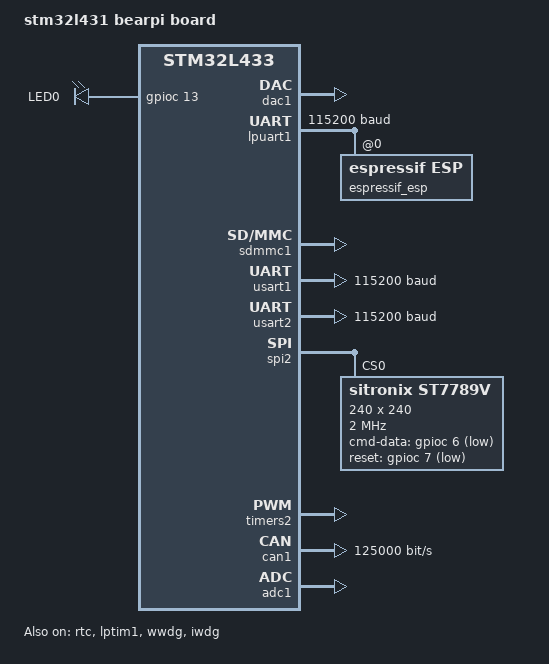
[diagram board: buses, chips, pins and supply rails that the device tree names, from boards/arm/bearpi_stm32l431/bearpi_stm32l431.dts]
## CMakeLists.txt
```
cmake_minimum_required(VERSION 3.13.1)

# set board name
set(BOARD bearpi_stm32l431)

# board, dts, soc
set(BOARD_ROOT ${CMAKE_CURRENT_LIST_DIR})
set(DTS_ROOT ${CMAKE_CURRENT_LIST_DIR}/dts)
set(SOC_ROOT ${CMAKE_CURRENT_LIST_DIR})

# evm path
set(EVM_BASE ${ZEPHYR_BASE}/../../../)

include_directories(app PRIVATE src)

# heatshrink module
list(APPEND ZEPHYR_EXTRA_MODULES
    ${EVM_BASE}/modules/heatshrink
)

# evm module
list(APPEND ZEPHYR_EXTRA_MODULES
    ${EVM_BASE}/modules/evm
)

# ecma
list(APPEND ZEPHYR_EXTRA_MODULES
    ${EVM_BASE}/modules/ecma
)

# driver
list(APPEND ZEPHYR_EXTRA_MODULES
    ${EVM_BASE}/drivers
)

find_package(Zephyr HINTS $ENV{ZEPHYR_BASE})
project(evm)

if(CONFIG_EVM_LANG_JAVASCRIPT)
    set(LIBEVM ${EVM_BASE}/lib/arm-none-eabi-gcc/cortex-m3/libejs.a)
elseif(CONFIG_EVM_LANG_PYTHON)
    set(LIBEVM ${EVM_BASE}/lib/arm-none-eabi-gcc/cortex-m3/libepy.a)
elseif(CONFIG_EVM_LANG_QML)
    set(LIBEVM ${EVM_BASE}/lib/arm-none-eabi-gcc/cortex-m3/libeqml.a)   
else()
    set(LIBEVM ${EVM_BASE}/lib/arm-none-eabi-gcc/cortex-m3/libejs.a)
endif()

message(${LIBEVM})
target_link_libraries(app PRIVATE ${LIBEVM})

include_directories(app PRIVATE ${EVM_BASE}/include)
include_directories(app PRIVATE ${EVM_BASE}/bsp/common)

target_sources(app PRIVATE src/main.c)
target_sources(app PRIVATE ${EVM_BASE}/bsp/common/evm_main.c)
target_sources(app PRIVATE src/evm_board.c)
```

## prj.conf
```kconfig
# libc config
CONFIG_NEWLIB_LIBC=y

# console config
CONFIG_STDOUT_CONSOLE=y
CONFIG_CONSOLE_SUBSYS=y
CONFIG_CONSOLE_GETCHAR=y
CONFIG_PRINTK=y

# zephyr config
CONFIG_MAIN_STACK_SIZE=4096

# driver config
CONFIG_GPIO=y
CONFIG_FLASH=y
CONFIG_DISPLAY=y
CONFIG_SPI=y
CONFIG_ST7789V=y
CONFIG_ADC=y
CONFIG_ADC_STM32=y
CONFIG_DAC=y
CONFIG_DAC_STM32=y
CONFIG_WATCHDOG=y
CONFIG_WDT_DISABLE_AT_BOOT=y
CONFIG_ST7789V_RGB565=y
CONFIG_SPI_STM32_USE_HW_SS=n

# networking config
CONFIG_NETWORKING=y
CONFIG_NET_IPV4=y
CONFIG_NET_IPV6=n
CONFIG_TEST_RANDOM_GENERATOR=y
CONFIG_NET_L2_ETHERNET=y

# WIFI config
CONFIG_WIFI=y
CONFIG_WIFI_ESP=y 
CONFIG_WIFI_ESP_AT_VERSION_1_7=y

#evm config
CONFIG_EVM_MODULE_PIN=y
CONFIG_EVM_MODULE_SWITCH=y
CONFIG_EVM_MODULE_TIMER=y
CONFIG_EVM_MODULE_UART=y
CONFIG_EVM_MODULE_LCD=y

# EVM ecma config
CONFIG_EVM_ECMA=y
CONFIG_EVM_ECMA_ARRAY=y
```

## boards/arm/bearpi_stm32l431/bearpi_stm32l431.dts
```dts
/*
 * Copyright (c) 2017 Linaro Limited
 *
 * SPDX-License-Identifier: Apache-2.0
 */

/dts-v1/;
#include <st/l4/stm32l433Xc.dtsi>

/ {
	model = "stm32l431 bearpi board";
	compatible = "st,stm32l433";

	chosen {
		zephyr,console = &usart1;
		zephyr,shell-uart = &usart1;
		zephyr,sram = &sram0;
		zephyr,flash = &flash0;
	};

	leds{
		compatible = "gpio-leds";
		led0: led_0 {
			gpios = <&gpioc 13 GPIO_ACTIVE_HIGH>;
			label = "LED0";
		};
	};

	soc {
		dac1: dac@40007400 {
			compatible = "st,stm32-dac";
			reg = <0x40007400 0x400>;
			clocks = <&rcc STM32_CLOCK_BUS_APB1 0x20000000>;
			status = "disabled";
			label = "DAC_1";
			#io-channel-cells = <1>;
		};

		lpuart1: serial@40008000 {
			compatible = "st,stm32-lpuart", "st,stm32-uart";
			#address-cells = <1>;
			#size-cells = <0>;
			reg = <0x40008000 0x400>;
			clocks = <&rcc STM32_CLOCK_BUS_APB1_2 0x00000001>;
			interrupts = <70 0>;
			status = "disabled";
			label = "LPUART_1";
		};

		sdmmc1: sdmmc@40012800 {
			compatible = "st,stm32-sdmmc";
			reg = <0x40012800 0x400>;
			clocks = <&rcc STM32_CLOCK_BUS_APB2 0x00000400>;
			status = "disabled";
			label = "SDMMC_1";
		};
	};
};

&lpuart1 {
	current-speed = <115200>;
	status = "okay";
	esp@0 {
		status = "okay";
		compatible = "espressif,esp";
		reg = <0x0>;
		label = "espressif_esp";
	};
};

&usart1 {
	current-speed = <115200>;
	status = "okay";
};

&usart2 {
	current-speed = <115200>;
	status = "okay";
};


&spi2 {
	status = "okay";
	st7789v@0 {
		compatible = "sitronix,st7789v";
		label = "ST7789V";
		spi-max-frequency = <2000000>;
		reg = <0>;
		cmd-data-gpios = <&gpioc 6 (GPIO_ACTIVE_LOW)>;	/* D9 */
		reset-gpios = <&gpioc 7 (GPIO_ACTIVE_LOW)>;	/* D8 */
		width = <240>;
		height = <240>;
		x-offset = <0>;
		y-offset = <0>;
		vcom = <0x3D>;
		gctrl = <0x72>;
		vrhs = <0x19>;
		vdvs = <0x20>;
		mdac = <0x00>;
		gamma = <0x01>;
		colmod = <0x65>;
		lcm = <0x2c>;
		porch-param = [0c 0c 00 33 33];
		cmd2en-param = [5a 69 02 00];
		pwctrl1-param = [a4 a1];
		pvgam-param = [D0 04 0D 11 13 2B 3F 54 4C 18 0D 0B 1F 23];
		nvgam-param = [D0 04 0C 11 13 2C 3F 44 51 2F 1F 1F 20 23];
		ram-param = [00 F0];
		rgb-param = [40 02 14];
	};
};

&timers2 {
	status = "okay";

	pwm {
		status = "okay";
	};
};

&can1 {
	bus-speed = <125000>;
	status = "okay";
};

&rtc {
	status = "okay";
};

&lptim1 {
	status = "okay";
};

&adc1 {
	status = "okay";
};

&dac1 {
	status = "okay";
};

&wwdg {
	status = "okay";
};

&iwdg {
	status = "okay";
};

&sdmmc1 {
	status = "okay";
};
```

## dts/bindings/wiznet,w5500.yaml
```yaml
# Copyright (c) 2018, Linaro Limited
# SPDX-License-Identifier: Apache-2.0

description: w5500 standalone 10/100BASE-T Ethernet controller with SPI interface

compatible: "wiznet,w5500"

include: [spi-device.yaml, ethernet.yaml]

properties:
    int-gpios:
      type: phandle-array
      required: true
      description: Interrupt pin.

        The interrupt pin of ENC28J60 is active low.
        If connected directly the MCU pin should be configured
        as active low.
```

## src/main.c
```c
/****************************************************************************
**
** Copyright (C) 2020 @scriptiot
**
**  EVM是一款通用化设计的虚拟机引擎，拥有语法解析前端接口、编译器、虚拟机和虚拟机扩展接口框架。
**  支持js、python、qml、lua等多种脚本语言，纯Ｃ开发，零依赖，内置REPL，支持主流 ROM > 40KB, RAM > 2KB的MCU;
**  自带垃圾回收（GC）先进的内存管理，采用最复杂的压缩算法，无内存碎片（大部分解释器都存在内存碎片）
**  Version	: 1.0
**  Email	: scriptiot@aliyun.com
**  Website	: https://github.com/scriptiot/evm
**            https://gitee.com/scriptiot/evm
**  Licence: Apache-2.0
****************************************************************************/

#include "evm_main.h"

#include <device.h>
#include <drivers/gpio.h>
#include <zephyr.h>







void main(void)
{
#if CONFIG_EVM_MODULE_LCD
    struct device * dev = device_get_binding("GPIOB");
    if( dev ) {
        gpio_pin_configure(dev, 15, GPIO_OUTPUT);
        gpio_pin_set(dev, 15, 1);
    }
#endif
    evm_main();
}
```
